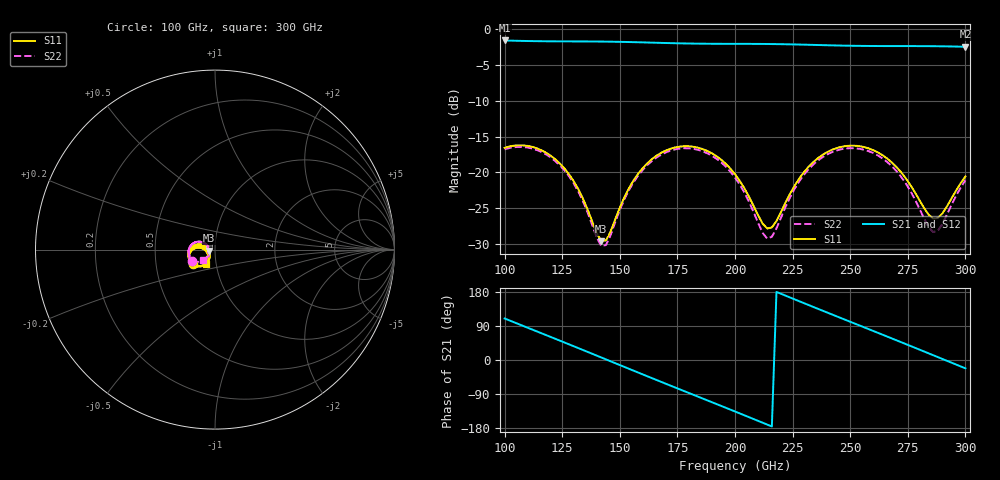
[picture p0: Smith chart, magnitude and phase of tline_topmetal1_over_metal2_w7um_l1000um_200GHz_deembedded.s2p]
! Created with skrf 2.0.1 (http://scikit-rf.org).
# GHz S DB R 50.0
!freq dBS11 angS11 dBS21 angS21 dBS12 angS12 dBS22 angS22
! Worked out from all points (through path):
!   101 points, 100 GHz to 300 GHz, reference 50 ohm
!   highest |S21| = -1.58 dB at 100 GHz (marker M1); lowest = -2.5 dB at 300 GHz (marker M2)
!   group delay of S21, straight-line fit = 6.83 ps
!   lowest |S11| = -29.6 dB at 142 GHz (marker M3), VSWR 1.07, Z = 46.8 - j0.59 ohm
!   |S11| at or under -10 dB: start of sweep to end of sweep
!   |S22| runs from -30.3 to -16.4 dB; largest |S21 - S12| = 8.8e-14
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100  -16.56 -147.3  -1.58 109.6  -1.58 109.6  -16.77 -154.4
108  -16.22 -163.4  -1.64 90.1  -1.64 90.1  -16.44 -171.3
116  -16.90 -179.1  -1.69 70.6  -1.69 70.6  -17.14 172.3
126  -19.45 164.0  -1.71 46.1  -1.71 46.1  -19.72 154.3
134  -23.64 158.3  -1.72 26.4  -1.72 26.4  -24.01 147.6
142  -29.59 -169.1  -1.73 6.6  -1.73 6.6  -30.29 -179.0
144  -29.48 -150.7  -1.74 1.6  -1.74 1.6  -30.13 -159.5
154  -22.18 -120.7  -1.80 -23.3  -1.80 -23.3  -22.45 -130.5
168  -17.25 -139.3  -1.92 -57.8  -1.92 -57.8  -17.51 -151.1
184  -16.55 -168.4  -2.02 -96.8  -2.02 -96.8  -16.85 177.9
200  -20.24 167.9  -2.05 -135.9  -2.05 -135.9  -20.71 151.8
214  -27.83 -162.4  -2.07 -170.5  -2.07 -170.5  -29.24 -176.8
218  -26.77 -136.7  -2.09 179.6  -2.09 179.6  -27.81 -147.7
224  -22.90 -122.0  -2.12 164.7  -2.12 164.7  -23.41 -134.1
234  -18.55 -128.3  -2.20 140.0  -2.20 140.0  -18.88 -142.9
244  -16.61 -143.8  -2.28 115.5  -2.28 115.5  -16.94 -160.2
252  -16.27 -157.4  -2.33 96.1  -2.33 96.1  -16.62 -175.1
268  -18.58 178.2  -2.36 57.1  -2.36 57.1  -19.10 157.6
278  -22.72 174.6  -2.37 32.5  -2.37 32.5  -23.70 151.7
286  -26.41 -158.8  -2.38 12.7  -2.38 12.7  -28.31 -177.6
290  -25.72 -137.3  -2.40 2.8  -2.40 2.8  -27.20 -151.5
300  -20.56 -121.6  -2.46 -22.0  -2.46 -22.0  -21.09 -137.8
